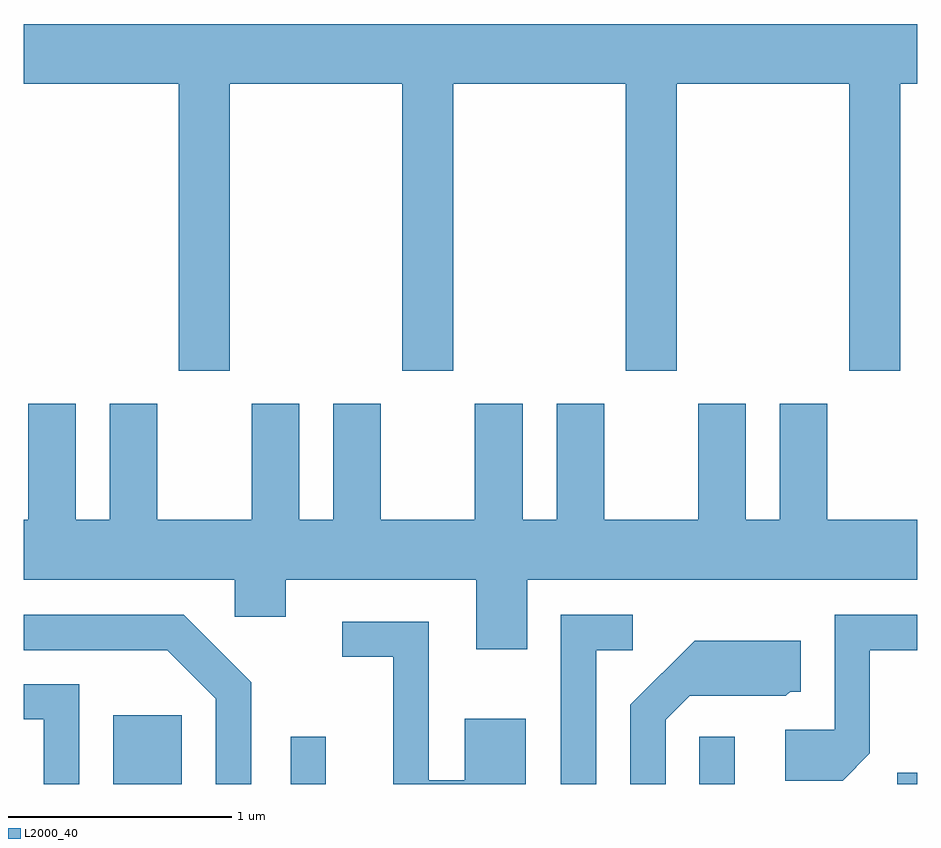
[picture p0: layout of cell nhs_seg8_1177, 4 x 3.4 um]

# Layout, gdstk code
import gdstk
lib = gdstk.Library(unit=1e-6, precision=1e-09)
def R(c, l, rs):  # rectangles x0, y0, x1, y1
    for r in rs: c.add(gdstk.rectangle(r[:2], r[2:], *l))
def P(c, l, *ps):  # polygons
    for p in ps: c.add(gdstk.Polygon(p, *l))
L2000_40 = (2000, 40)

nhs_seg8_1177 = lib.new_cell('nhs_seg8_1177')
R(nhs_seg8_1177, L2000_40, [(220.011,1884.342,220.319,1884.649), (220.806,1884.342,220.964,1884.553), (222.636,1884.342,222.794,1884.553), (223.521,1884.342,223.611,1884.393)])
P(nhs_seg8_1177, L2000_40, [(220.534,1887.476),(221.306,1887.476),(221.306,1886.191),(221.534,1886.191),(221.534,1887.476),(222.306,1887.476),(222.306,1886.191),(222.534,1886.191),(222.534,1887.476),(223.306,1887.476),(223.306,1886.191),(223.534,1886.191),(223.534,1887.476),(223.611,1887.476),(223.611,1887.744),(219.611,1887.744),(219.611,1887.476),(220.306,1887.476),(220.306,1886.191),(220.534,1886.191)],
  [(221.631,1885.524),(221.209,1885.524),(221.209,1886.044),(220.996,1886.044),(220.996,1885.524),(220.844,1885.524),(220.844,1886.044),(220.631,1886.044),(220.631,1885.524),(220.209,1885.524),(220.209,1886.044),(219.996,1886.044),(219.996,1885.524),(219.844,1885.524),(219.844,1886.044),(219.631,1886.044),(219.631,1885.524),(219.611,1885.524),(219.611,1885.256),(220.556,1885.256),(220.556,1885.091),(220.784,1885.091),(220.784,1885.256),(221.636,1885.256),(221.636,1884.946),(221.864,1884.946),(221.864,1885.256),(223.611,1885.256),(223.611,1885.524),(223.209,1885.524),(223.209,1886.044),(222.996,1886.044),(222.996,1885.524),(222.844,1885.524),(222.844,1886.044),(222.631,1886.044),(222.631,1885.524),(222.209,1885.524),(222.209,1886.044),(221.996,1886.044),(221.996,1885.524),(221.844,1885.524),(221.844,1886.044),(221.631,1886.044)],
  [(222.174,1884.941),(222.338,1884.941),(222.338,1885.099),(222.016,1885.099),(222.016,1884.342),(222.174,1884.342)],
  [(223.399,1884.479),(223.399,1884.941),(223.611,1884.941),(223.611,1885.099),(223.241,1885.099),(223.241,1884.584),(223.021,1884.584),(223.021,1884.356),(223.277,1884.356)],
  [(220.629,1884.797),(220.327,1885.099),(219.611,1885.099),(219.611,1884.941),(220.254,1884.941),(220.471,1884.724),(220.471,1884.342),(220.629,1884.342)],
  [(221.859,1884.634),(221.586,1884.634),(221.586,1884.359),(221.424,1884.359),(221.424,1885.069),(221.038,1885.069),(221.038,1884.911),(221.266,1884.911),(221.266,1884.342),(221.859,1884.342)],
  [(222.484,1884.629),(222.592,1884.736),(223.022,1884.736),(223.042,1884.756),(223.089,1884.756),(223.089,1884.984),(222.614,1884.984),(222.326,1884.697),(222.326,1884.342),(222.484,1884.342)],
  [(219.859,1884.789),(219.611,1884.789),(219.611,1884.631),(219.701,1884.631),(219.701,1884.342),(219.859,1884.342)])

lib.write_gds('nhs_seg8_1177.gds')
